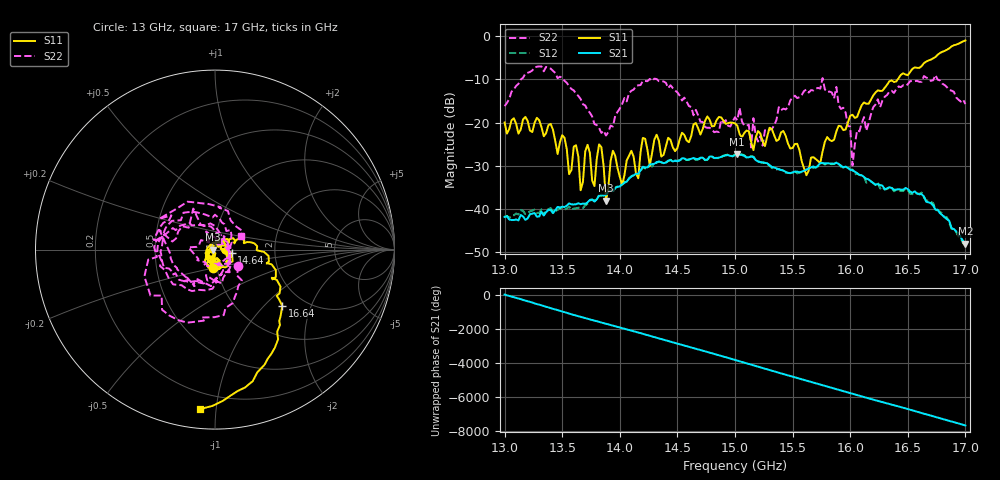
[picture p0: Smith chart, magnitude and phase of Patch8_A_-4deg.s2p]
!Keysight Technologies,P9374A,MY57211810,A.19.30.04
!Date: Friday, May 09, 2025 09:13:25
!Correction: S11(Cdelta 2-Port  )
!S21(Cdelta 2-Port  )
!S12(Cdelta 2-Port  )
!S22(Cdelta 2-Port  )
!S2P File: Measurements: S11, S21, S12, S22:
# Hz S  dB  R 50
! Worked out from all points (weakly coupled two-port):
!   201 points, 13 GHz to 17 GHz, reference 50 ohm
!   highest |S21| = -27.28 dB at 15.02 GHz (marker M1); lowest = -48.1 dB at 17 GHz (marker M2)
!   lowest |S11| = -38.1 dB at 13.88 GHz (marker M3), VSWR 1.03, Z = 48.8 - j0.0517 ohm
!   |S11| at or under -10 dB: start of sweep to 16.41 GHz
!   |S22| runs from -29.9 to -7.0 dB; largest |S21 - S12| = 0.0025
!   S11 on the Smith chart (normalised r, x): 13 GHz: 0.96, -0.19; 14.64 GHz: 1.21, -0.04; 16.64 GHz: 1.56, -1.28; 17 GHz: 0.10, -0.91
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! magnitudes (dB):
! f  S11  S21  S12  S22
! 13 GHz  -20.0  -41.9  -41.8  -16.2
! 13.3 GHz  -19.5  -41.7  -40.9  -7.0
! 13.62 GHz  -25.3  -38.9  -39.9  -13.3
! 13.68 GHz  -33.7  -38.8  -39.8  -15.8
! 13.72 GHz  -25.2  -38.5  -38.8  -17.1
! 13.78 GHz  -34.7  -38.3  -38.1  -20.4
! 13.82 GHz  -25.1  -36.9  -36.9  -21.3
! 13.88 GHz  -38.1  -36.8  -36.8  -23.0
! 13.94 GHz  -26.5  -35.9  -36.2  -20.9
! 14.02 GHz  -34.4  -34.4  -34.3  -15.7
! 14.34 GHz  -24.3  -29.0  -29.0  -10.4
! 14.64 GHz  -20.4  -28.2  -28.3  -18.3
! 15 GHz  -20.2  -27.6  -27.4  -18.8
! 15.02 GHz  -20.7  -27.3  -27.2  -19.5
! 15.24 GHz  -24.3  -29.2  -29.3  -25.3
! 15.68 GHz  -28.0  -30.2  -30.4  -12.6
! 15.88 GHz  -22.1  -29.3  -29.3  -11.7
! 16 GHz  -18.4  -30.9  -30.8  -20.9
! 16.02 GHz  -18.2  -31.1  -30.9  -29.9
! 16.34 GHz  -10.4  -35.0  -35.1  -12.8
! 16.64 GHz  -6.2  -37.1  -37.3  -9.2
! 17 GHz  -1.0  -48.1  -48.6  -15.7
